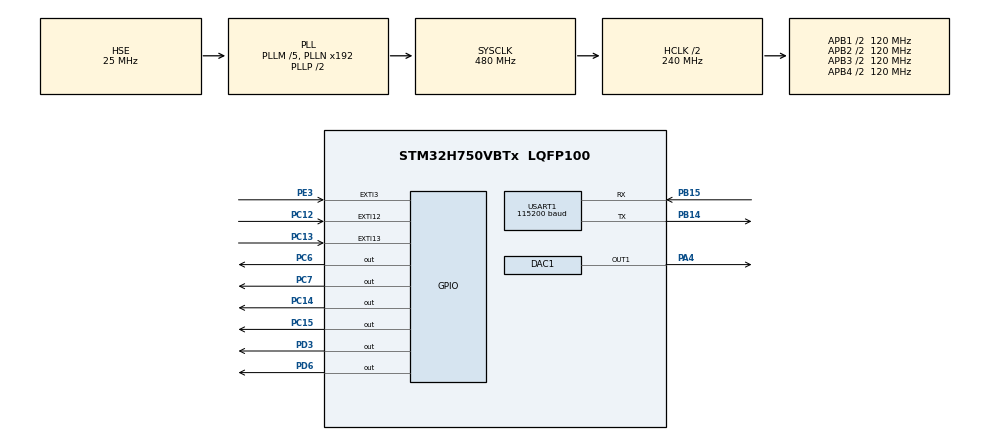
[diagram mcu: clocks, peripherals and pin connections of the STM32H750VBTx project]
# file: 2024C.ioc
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DAC1.DAC_Channel-DAC_OUT1=DAC_CHANNEL_1
LPTIM1.ClockPrescaler=LPTIM_PRESCALER_DIV128
LPTIM2.ClockPrescaler=LPTIM_PRESCALER_DIV128
Mcu.Family=STM32H7
Mcu.Name=STM32H750VBTx
Mcu.Package=LQFP100
NVIC.EXTI15_10_IRQn=true\:15\:0\:true\:false\:true\:true\:true\:true
NVIC.EXTI3_IRQn=true\:15\:0\:true\:false\:true\:true\:true\:true
NVIC.PriorityGroup=NVIC_PRIORITYGROUP_4
PA4.Signal=COMP_DAC11_group
PB14.Mode=Asynchronous
PB14.Signal=USART1_TX
PB15.Mode=Asynchronous
PB15.Signal=USART1_RX
PC12.GPIO_ModeDefaultEXTI=GPIO_MODE_IT_FALLING
PC12.Signal=GPXTI12
PC13.GPIO_ModeDefaultEXTI=GPIO_MODE_IT_FALLING
PC13.Signal=GPXTI13
PC14-OSC32_IN\ (OSC32_IN).Signal=GPIO_Output
PC15-OSC32_OUT\ (OSC32_OUT).Signal=GPIO_Output
PC6.Signal=GPIO_Output
PC7.Signal=GPIO_Output
PD3.Signal=GPIO_Output
PD6.Signal=GPIO_Output
PE3.GPIO_ModeDefaultEXTI=GPIO_MODE_IT_FALLING
PE3.Signal=GPXTI3
PH0-OSC_IN\ (PH0).Mode=HSE-External-Oscillator
PH0-OSC_IN\ (PH0).Signal=RCC_OSC_IN
PH1-OSC_OUT\ (PH1).Mode=HSE-External-Oscillator
PH1-OSC_OUT\ (PH1).Signal=RCC_OSC_OUT
ProjectManager.HeapSize=0x1000
ProjectManager.StackSize=0x20000
ProjectManager.TargetToolchain=MDK-ARM V5
RCC.ADCCLockSelection=RCC_ADCCLKSOURCE_PLL3
RCC.ADCFreq_Value=51200000
RCC.APB1Freq_Value=120000000
RCC.APB2Freq_Value=120000000
RCC.APB3Freq_Value=120000000
RCC.APB4Freq_Value=120000000
RCC.CKPERSourceSelection=RCC_CLKPSOURCE_CSI
RCC.CortexFreq_Value=480000000
RCC.D1PPRE=RCC_APB3_DIV2
RCC.D2PPRE1=RCC_APB1_DIV2
RCC.D2PPRE2=RCC_APB2_DIV2
RCC.D3PPRE=RCC_APB4_DIV2
RCC.DIVM1=5
RCC.DIVM2=25
RCC.DIVM3=25
RCC.DIVN1=192
RCC.DIVN2=240
RCC.DIVN3=256
RCC.DIVP3=10
RCC.DIVQ3=10
RCC.DIVR3=5
RCC.HCLKFreq_Value=240000000
RCC.HPRE=RCC_HCLK_DIV2
RCC.HRTIMCLockSelection=RCC_HRTIM1CLK_CPUCLK
RCC.LPTIM1CLockSelection=RCC_LPTIM1CLKSOURCE_CLKP
RCC.PLL2FRACN=0
RCC.PLL3FRACN=0
RCC.PLLFRACN=0
RCC.PLLSourceVirtual=RCC_PLLSOURCE_HSE
RCC.ProductRev=revV
RCC.SPI123CLockSelection=RCC_SPI123CLKSOURCE_PLL2
RCC.SYSCLKFreq_VALUE=480000000
RCC.SYSCLKSource=RCC_SYSCLKSOURCE_PLLCLK
RCC.USBFreq_Value=480000000
SH.COMP_DAC11_group.0=DAC1_OUT1,DAC_OUT1
TIM4.Prescaler=239
USART1.BaudRate=115200
USART1.Mode=MODE_TX
USART1.VirtualMode-Asynchronous=VM_ASYNC
VP_LPTIM1_VS_LPTIM_counterModeInternalClock.Mode=Counts__internal_clock_event_00
VP_LPTIM2_VS_LPTIM_counterModeInternalClock.Mode=Counts__internal_clock_event_00
VP_TIM4_VS_ClockSourceINT.Mode=Internal
VP_VREFBUF_V_VREFBUF.Mode=ExternalMode
board=custom

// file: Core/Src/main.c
/* USER CODE BEGIN Header */
/**
  ******************************************************************************
  * @file           : main.c
  * @brief          : Main program body
  ******************************************************************************
  * @attention
  *
  * Copyright (c) 2024 STMicroelectronics.
  * All rights reserved.
  *
  * This software is licensed under terms that can be found in the LICENSE file
  * in the root directory of this software component.
  * If no LICENSE file comes with this software, it is provided AS-IS.
  *
  ******************************************************************************
  */
/* USER CODE END Header */
#include "main.h"
#include "dac.h"
#include "lptim.h"
#include "tim.h"
#include "usart.h"
#include "gpio.h"

/* USER CODE BEGIN Includes */
#include "AD9959.h"
#include "HMC472.h"
#include "debug.h"
#include "ch455.h"
#include "delay.h"
/* USER CODE END Includes */

/* USER CODE BEGIN PTD */

uint32_t vamp_L[11][10] = { {89,177,265,354,442,525,612,707,793,874}, //30MHz,vamp_L_f_i = 0
													 {88,183,268,358,444,532,623,711,799,882}, //31MHz,vamp_L_f_i = 1
												   {88,179,269,358,444,532,620,709,797,885}, //32MHz,vamp_L_f_i = 2
												   {88,178,268,357,441,529,617,705,793,881}, //33MHz,vamp_L_f_i = 3
													 {87,177,272,349,436,524,611,698,786,873}, //34MHz,vamp_L_f_i = 4
													 {86,174,263,345,431,518,604,690,775,858}, //35MHz,vamp_L_f_i = 5
													 {85,172,258,341,421,503,587,669,752,835}, //36MHz,vamp_L_f_i = 6
													 {84,169,253,338,422,506,591,675,760,844}, //37MHz,vamp_L_f_i = 7
													 {84,169,255,341,424,508,593,677,762,845}, //38MHz,vamp_L_f_i = 8
													 {86,172,262,348,432,518,604,691,778,862}, //39MHz,vamp_L_f_i = 9
													 {88,176,267,355,441,530,618,705,793,881}, //40MHz,vamp_L_f_i = 10
};
uint8_t vamp_L_f_i = 5;
uint8_t vamp_L_i = 0;

uint32_t f_L = 30000000;

uint8_t deg[7] = {0,30,60,90,120,150,180};
uint8_t deg_i = 0;

uint16_t attenuation = 0;
uint16_t attenuation_hmc= 0;
uint8_t  attenuation_real[11] = {0,2,4,6,8,10,12,14,16,18,20}; // 对应显示0db-20db衰减
// 调试范围是0-31

float adjust[7] = {0.45f,0.5f,0.6f,0.7f,0.85f,0.95f,1.1f};
uint8_t adjust_i = 0;

float vp_B = 0.27f; // 峰值
#define VP_B 0.27f
#define DAC_VOLTAGE_DEFAULT 0.9f // vp_B / 0.3, max
uint16_t vamp_A_1 = 955.6667f * VP_B; // output1
uint16_t vamp_A_2 = 963.3333f * VP_B; //  output3
float dac_voltage = DAC_VOLTAGE_DEFAULT;
uint32_t dac_value = (uint32_t)(DAC_VOLTAGE_DEFAULT/3.3f*4095.0f); //dac code

float vamp_L_2_scale = 1.28;

extern uint16_t CH455_KEY_RX_FLAG; //键盘接收状态标记
extern uint8_t CH455_KEY_NUM;			//按下键盘的值

uint8_t mode = 1; // 1是加法模式，0是减法模式，2是CW测量模式

/* USER CODE END PTD */

void SystemClock_Config(void);
void PeriphCommonClock_Config(void);

/* USER CODE BEGIN 0 */

void HAL_GPIO_EXTI_Callback(uint16_t GPIO_Pin){

		//注意要调整中断优先级使SYSTICK的高于按键中断
		HAL_Delay(50); //延时实现消抖，但在复杂程序不建议在中断中使用延时函数

		if (GPIO_Pin == GPIO_PIN_12){	// 判断中断来自于PC12管脚
				//判断PC12被按下
				if (GPIO_PIN_RESET == HAL_GPIO_ReadPin(GPIOC, GPIO_PIN_12)){
					HAL_GPIO_WritePin(GPIOD, GPIO_PIN_6, GPIO_PIN_SET);
					HAL_GPIO_WritePin(GPIOD, GPIO_PIN_3, GPIO_PIN_RESET);
					mode = 0;
					printf("t12.txt=\"- mode \"\xff\xff\xff");
				}
		}
		else if (GPIO_Pin == GPIO_PIN_3){	// 判断中断来自于PE3管脚
				if (GPIO_PIN_RESET == HAL_GPIO_ReadPin(GPIOC, GPIO_PIN_3)){
					HAL_GPIO_WritePin(GPIOD, GPIO_PIN_6, GPIO_PIN_RESET);
					HAL_GPIO_WritePin(GPIOD, GPIO_PIN_3, GPIO_PIN_SET);
					mode = 1;
					printf("t12.txt=\"+ mode \"\xff\xff\xff");
				}
		}
		else if (GPIO_Pin == GPIO_PIN_13){

			CH455_KEY_RX_FLAG = 1;

			CH455_KEY_NUM = CH455_Key_Read();

			if (CH455_KEY_NUM == 0){ // 调节RMS
				if (mode == 0){ // 减法模式
					HAL_GPIO_WritePin(GPIOD, GPIO_PIN_6, GPIO_PIN_RESET);
					HAL_Delay(100);
					HAL_GPIO_WritePin(GPIOD, GPIO_PIN_6, GPIO_PIN_SET);
					if(vamp_L_i - 1 > 0){
						vamp_L_i = vamp_L_i - 1;
					}
					else if(vamp_L_i == 0){
						vamp_L_i = 9;
					}
					else{
						vamp_L_i = 0;
					}
				}
				if (mode == 1){ // 加法模式
					HAL_GPIO_WritePin(GPIOD, GPIO_PIN_3, GPIO_PIN_RESET);
					HAL_Delay(100);
					HAL_GPIO_WritePin(GPIOD, GPIO_PIN_3, GPIO_PIN_SET);
					if(vamp_L_i + 1 < 9){
						vamp_L_i = vamp_L_i + 1;
					}
					else if(vamp_L_i == 9){
						vamp_L_i = 0;
					}
					else{
						vamp_L_i = 9;
					}
				}
				AD9959_SetAmp4Channel(vamp_L[vamp_L_f_i][vamp_L_i],vamp_A_1,
				vamp_L[vamp_L_f_i][vamp_L_i]*vamp_L_2_scale,vamp_A_2);

				printf("t6.txt=\"%d mV\"\xff\xff\xff",(vamp_L_i+1)*100);
			}
			if (CH455_KEY_NUM == 1){ // 调节调制，最好：500mV，30MHz
				if (mode == 0){ // 减法模式
					HAL_GPIO_WritePin(GPIOD, GPIO_PIN_6, GPIO_PIN_RESET);
					HAL_Delay(100);
					HAL_GPIO_WritePin(GPIOD, GPIO_PIN_6, GPIO_PIN_SET);
					if(adjust_i - 1 > 0){
						adjust_i = adjust_i - 1;
					}
					else if(adjust_i == 0){
						adjust_i = 6;
					}
					else{
						adjust_i = 0;
					}
				}
				if (mode == 1){ // 加法模式
					HAL_GPIO_WritePin(GPIOD, GPIO_PIN_3, GPIO_PIN_RESET);
					HAL_Delay(100);
					HAL_GPIO_WritePin(GPIOD, GPIO_PIN_3, GPIO_PIN_SET);
					if(adjust_i + 1 < 6){
						adjust_i = adjust_i + 1;
					}
					else if(adjust_i == 6){
						adjust_i = 0;
					}
					else{
						adjust_i = 6;
					}
				}
				dac_voltage = vp_B / adjust[adjust_i];
				if (dac_voltage > 3.3f) {dac_voltage = 3.3f;}
				dac_value = (uint32_t)(dac_voltage/3.3f*4095.0f);
				HAL_DAC_SetValue(&hdac1,DAC_CHANNEL_1,DAC_ALIGN_12B_R,dac_value);//channel 1 output

				printf("t13.txt=\"%f V \"\xff\xff\xff",dac_voltage);
				printf("t7.txt=\"%d %% \"\xff\xff\xff",(adjust_i+3)*10);
			}
			if (CH455_KEY_NUM == 2){ // 调节频率
				if (mode == 0){ // 减法模式
					HAL_GPIO_WritePin(GPIOD, GPIO_PIN_6, GPIO_PIN_RESET);
					HAL_Delay(100);
					HAL_GPIO_WritePin(GPIOD, GPIO_PIN_6, GPIO_PIN_SET);
					if(f_L - 1000000 > 30000000){
						f_L = f_L - 1000000;
					}
					else if(f_L == 30000000){
						f_L = 40000000;
					}
					else{
						f_L = 30000000;
					}
				}
				if (mode == 1){ // 加法模式
					HAL_GPIO_WritePin(GPIOD, GPIO_PIN_3, GPIO_PIN_RESET);
					HAL_Delay(100);
					HAL_GPIO_WritePin(GPIOD, GPIO_PIN_3, GPIO_PIN_SET);
					if(f_L + 1000000 < 40000000){
						f_L = f_L + 1000000;
					}
					else if(f_L == 40000000){
						f_L = 30000000;
					}
					else{
						f_L = 40000000;
					}
				}
				AD9959_SetFrequency4Channel(f_L,2000000,f_L,2000000);
				vamp_L_f_i = f_L/1000000 - 30;
				AD9959_SetAmp4Channel(vamp_L[vamp_L_f_i][vamp_L_i],vamp_A_1,
				vamp_L[vamp_L_f_i][vamp_L_i]*vamp_L_2_scale,vamp_A_2);

				printf("t8.txt=\"%d MHz  \"\xff\xff\xff",f_L/1000000);
			}

			if (CH455_KEY_NUM == 3){ // 调节衰减db
				if (mode == 0){ // 减法模式
					HAL_GPIO_WritePin(GPIOD, GPIO_PIN_6, GPIO_PIN_RESET);
					HAL_Delay(100);
					HAL_GPIO_WritePin(GPIOD, GPIO_PIN_6, GPIO_PIN_SET);
					if(attenuation - 2 > 0){
						attenuation = attenuation - 2;
					}
					else if(attenuation == 0){
						attenuation = 20;
					}
					else{
						attenuation = 0;
					}
				}
				if (mode == 1){ // 加法模式
					HAL_GPIO_WritePin(GPIOD, GPIO_PIN_3, GPIO_PIN_RESET);
					HAL_Delay(100);
					HAL_GPIO_WritePin(GPIOD, GPIO_PIN_3, GPIO_PIN_SET);
					if(attenuation + 2 < 20){
						attenuation = attenuation + 2;
					}
					else if(attenuation == 20){
						attenuation = 0;
					}
					else{
						attenuation = 20;
					}
				}

				attenuation_hmc = attenuation_real[attenuation / 2] * 2;
				HMC472set(attenuation_hmc);

				printf("t9.txt=\"%d dB\"\xff\xff\xff",attenuation);
			}

			if (CH455_KEY_NUM == 4){ // 调节延迟
				HAL_GPIO_WritePin(GPIOD, GPIO_PIN_6, GPIO_PIN_RESET);
				HAL_Delay(100);
				HAL_GPIO_WritePin(GPIOD, GPIO_PIN_6, GPIO_PIN_SET);
			}

			if (CH455_KEY_NUM == 5){ // 调节相位
				if (mode == 0){ // 减法模式
					HAL_GPIO_WritePin(GPIOD, GPIO_PIN_6, GPIO_PIN_RESET);
					HAL_Delay(100);
					HAL_GPIO_WritePin(GPIOD, GPIO_PIN_6, GPIO_PIN_SET);
					if(deg_i - 1 > 0){
						deg_i = deg_i - 1;
					}
					else if(deg_i == 0){
						deg_i = 6;
					}
					else{
						deg_i = 0;
					}
				}
				if (mode == 1){ // 加法模式
					HAL_GPIO_WritePin(GPIOD, GPIO_PIN_3, GPIO_PIN_RESET);
					HAL_Delay(100);
					HAL_GPIO_WritePin(GPIOD, GPIO_PIN_3, GPIO_PIN_SET);
					if(deg_i + 1 < 6){
						deg_i = deg_i + 1;
					}
					else if(deg_i == 6){
						deg_i = 0;
					}
					else{
						deg_i = 6;
					}
				}
				AD9959_SetPhase4Channel(0,0,0,deg[deg_i]);

				printf("t11.txt=\"%d deg \"\xff\xff\xff",deg_i*30);
			}

			if (CH455_KEY_NUM == 15){ // 开启CW测量模式，直流偏置为2V
				uint8_t i;
				for (i = 0; i < 3; i++){
					HAL_GPIO_WritePin(GPIOD, GPIO_PIN_6, GPIO_PIN_SET);HAL_GPIO_WritePin(GPIOD, GPIO_PIN_3, GPIO_PIN_SET);
					HAL_Delay(100);
					HAL_GPIO_WritePin(GPIOD, GPIO_PIN_6, GPIO_PIN_RESET);HAL_GPIO_WritePin(GPIOD, GPIO_PIN_3, GPIO_PIN_RESET);
					HAL_Delay(100);
				}
				mode = 2;
				dac_voltage = 2.0f;
				dac_value = (uint32_t)(dac_voltage/3.3f*4095.0f);
				HAL_DAC_SetValue(&hdac1,DAC_CHANNEL_1,DAC_ALIGN_12B_R,dac_value);//channel 1 output

				vamp_A_1 = 0;
				AD9959_SetFrequency4Channel(f_L,2000000,f_L,2000000);
				vamp_L_f_i = f_L/1000000 - 30;
				AD9959_SetAmp4Channel(vamp_L[vamp_L_f_i][vamp_L_i],vamp_A_1,
				vamp_L[vamp_L_f_i][vamp_L_i]*vamp_L_2_scale,vamp_A_2);

				printf("t12.txt=\"CW test \"\xff\xff\xff");
				printf("t6.txt=\"%d mV\"\xff\xff\xff",(vamp_L_i+1)*100);
				printf("t8.txt=\"%d MHz  \"\xff\xff\xff",f_L/1000000);
				printf("t13.txt=\"%f V \"\xff\xff\xff",dac_voltage);
			}
			__HAL_GPIO_EXTI_CLEAR_FLAG(GPIO_PIN_13);
		}
}

/* USER CODE END 0 */

int main(void)
{
  /* USER CODE BEGIN 1 */

	uint32_t i = 0;
  /* USER CODE END 1 */

  /* MCU Configuration--------------------------------------------------------*/

  /* Reset of all peripherals, Initializes the Flash interface and the Systick. */
  HAL_Init();

  /* Configure the system clock */
  SystemClock_Config();

/* Configure the peripherals common clocks */
  PeriphCommonClock_Config();

  /* Initialize all configured peripherals */
  MX_GPIO_Init();
  MX_USART1_UART_Init();
  MX_LPTIM1_Init();
  MX_LPTIM2_Init();
  MX_TIM4_Init();
  MX_DAC1_Init();
	HMC472_Init();
  /* USER CODE BEGIN 2 */

	HAL_DAC_Start(&hdac1,DAC_CHANNEL_1);//dac1 open
	HAL_DAC_SetValue(&hdac1,DAC_CHANNEL_1,DAC_ALIGN_12B_R,dac_value);//channel 1 output

	Init_AD9959();
	AD9959_SetFrequency4Channel(f_L,2000000,f_L,2000000);
	AD9959_SetAmp4Channel(vamp_L[vamp_L_f_i][vamp_L_i],vamp_A_1,
	vamp_L[vamp_L_f_i][vamp_L_i]*vamp_L_2_scale,vamp_A_2);
	AD9959_SetPhase4Channel(0,0,0,deg[deg_i]);

	attenuation_hmc = attenuation_real[attenuation / 2] * 2;
	HMC472set(attenuation_hmc);

	printf("t12.txt=\"+ mode \"\xff\xff\xff");
	printf("t6.txt=\"%d mV\"\xff\xff\xff",(vamp_L_i+1)*100);
	printf("t7.txt=\"%d %% \"\xff\xff\xff",(adjust_i+3)*10);
	printf("t8.txt=\"%d MHz  \"\xff\xff\xff",f_L/1000000);
	printf("t11.txt=\"%d deg \"\xff\xff\xff",deg_i*30);
	printf("t13.txt=\"%f V \"\xff\xff\xff",dac_voltage);
	printf("t9.txt=\"%d dB\"\xff\xff\xff",attenuation);

  for (i = 0; i < 3; i = i + 1){
		HAL_GPIO_WritePin(GPIOD, GPIO_PIN_3, GPIO_PIN_SET);HAL_GPIO_WritePin(GPIOD, GPIO_PIN_6, GPIO_PIN_SET);
		HAL_Delay(200);
		HAL_GPIO_WritePin(GPIOD, GPIO_PIN_3, GPIO_PIN_RESET);HAL_GPIO_WritePin(GPIOD, GPIO_PIN_6, GPIO_PIN_RESET);
		HAL_Delay(200);
	}

	delay_init(480);//延时函数初始化
	delay_ms(100);//100ms必须加，ch455上电后需要一段时间才能启动
	CH455_init();//ch455 初始化

	CH455_Display(1,1);//数码管1显示1
	CH455_Display(2,2);//数码管2显示2
	CH455_Display(3,3);//数码管3显示3
	CH455_Display(4,4);//数码管4显示4
  /* USER CODE END 2 */

  /* Infinite loop */
  /* USER CODE BEGIN WHILE */
	HAL_GPIO_WritePin(GPIOD, GPIO_PIN_6, GPIO_PIN_RESET);
	HAL_GPIO_WritePin(GPIOD, GPIO_PIN_3, GPIO_PIN_RESET);

	while (1)
  {
		if(CH455_KEY_RX_FLAG == 1)	//键盘按下，在终端中读取CH455寄存器完成后
		{
			CH455_Display(1,CH455_KEY_NUM);//数码管显示按键值
			CH455_Display(2,CH455_KEY_NUM);
			CH455_Display(3,CH455_KEY_NUM);
			CH455_Display(4,CH455_KEY_NUM);
			CH455_KEY_RX_FLAG = 0;
		}
		HAL_Delay(100);		//延时
    /* USER CODE END WHILE */

  }
}

void SystemClock_Config(void)
{
  RCC_OscInitTypeDef RCC_OscInitStruct = {0};
  RCC_ClkInitTypeDef RCC_ClkInitStruct = {0};

  /** Supply configuration update enable
  */
  HAL_PWREx_ConfigSupply(PWR_LDO_SUPPLY);
  /** Configure the main internal regulator output voltage
  */
  __HAL_PWR_VOLTAGESCALING_CONFIG(PWR_REGULATOR_VOLTAGE_SCALE0);

  while(!__HAL_PWR_GET_FLAG(PWR_FLAG_VOSRDY)) {}
  /** Initializes the RCC Oscillators according to the specified parameters
  * in the RCC_OscInitTypeDef structure.
  */
  RCC_OscInitStruct.OscillatorType = RCC_OSCILLATORTYPE_CSI|RCC_OSCILLATORTYPE_HSE;
  RCC_OscInitStruct.HSEState = RCC_HSE_ON;
  RCC_OscInitStruct.CSIState = RCC_CSI_ON;
  RCC_OscInitStruct.CSICalibrationValue = RCC_CSICALIBRATION_DEFAULT;
  RCC_OscInitStruct.PLL.PLLState = RCC_PLL_ON;
  RCC_OscInitStruct.PLL.PLLSource = RCC_PLLSOURCE_HSE;
  RCC_OscInitStruct.PLL.PLLM = 5;
  RCC_OscInitStruct.PLL.PLLN = 192;
  RCC_OscInitStruct.PLL.PLLP = 2;
  RCC_OscInitStruct.PLL.PLLQ = 2;
  RCC_OscInitStruct.PLL.PLLR = 2;
  RCC_OscInitStruct.PLL.PLLRGE = RCC_PLL1VCIRANGE_2;
  RCC_OscInitStruct.PLL.PLLVCOSEL = RCC_PLL1VCOWIDE;
  RCC_OscInitStruct.PLL.PLLFRACN = 0;
  if (HAL_RCC_OscConfig(&RCC_OscInitStruct) != HAL_OK)
  {
    Error_Handler();
  }
  /** Initializes the CPU, AHB and APB buses clocks
  */
  RCC_ClkInitStruct.ClockType = RCC_CLOCKTYPE_HCLK|RCC_CLOCKTYPE_SYSCLK
                              |RCC_CLOCKTYPE_PCLK1|RCC_CLOCKTYPE_PCLK2
                              |RCC_CLOCKTYPE_D3PCLK1|RCC_CLOCKTYPE_D1PCLK1;
  RCC_ClkInitStruct.SYSCLKSource = RCC_SYSCLKSOURCE_PLLCLK;
  RCC_ClkInitStruct.SYSCLKDivider = RCC_SYSCLK_DIV1;
  RCC_ClkInitStruct.AHBCLKDivider = RCC_HCLK_DIV2;
  RCC_ClkInitStruct.APB3CLKDivider = RCC_APB3_DIV2;
  RCC_ClkInitStruct.APB1CLKDivider = RCC_APB1_DIV2;
  RCC_ClkInitStruct.APB2CLKDivider = RCC_APB2_DIV2;
  RCC_ClkInitStruct.APB4CLKDivider = RCC_APB4_DIV2;

  if (HAL_RCC_ClockConfig(&RCC_ClkInitStruct, FLASH_LATENCY_4) != HAL_OK)
  {
    Error_Handler();
  }
}

void PeriphCommonClock_Config(void)
{
  RCC_PeriphCLKInitTypeDef PeriphClkInitStruct = {0};

  /** Initializes the peripherals clock
  */
  PeriphClkInitStruct.PeriphClockSelection = RCC_PERIPHCLK_CKPER;
  PeriphClkInitStruct.CkperClockSelection = RCC_CLKPSOURCE_CSI;
  if (HAL_RCCEx_PeriphCLKConfig(&PeriphClkInitStruct) != HAL_OK)
  {
    Error_Handler();
  }
}

void Error_Handler(void)
{
  __disable_irq();
  while (1)
  {
  }
}

/************************ (C) COPYRIGHT STMicroelectronics *****END OF FILE****/
